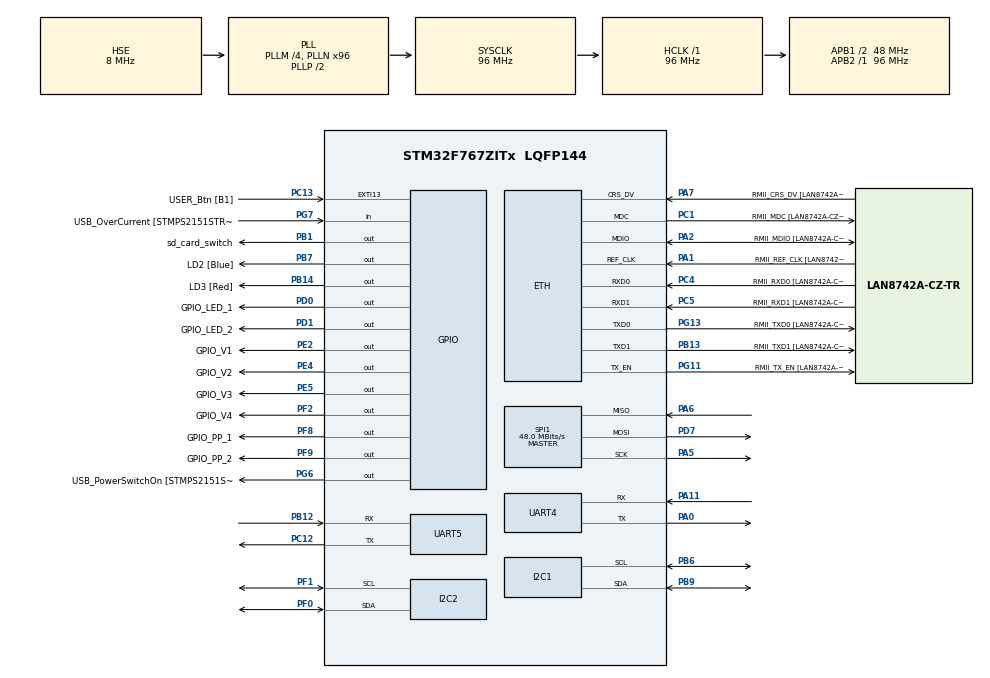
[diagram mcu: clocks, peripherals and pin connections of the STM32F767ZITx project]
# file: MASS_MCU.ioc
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ETH.MediaInterface=ETH_MEDIA_INTERFACE_RMII
ETH.PHY_Name=LAN8742A_PHY_ADDRESS
ETH.PHY_Value=0
ETH.PhyAddress=0
FATFS._MAX_SS=4096
FATFS._USE_LFN=1
I2C1.Timing=0x20303E5D
I2C2.Timing=0x20303E5D
LWIP.LWIP_DHCP=0
LWIP.LWIP_NETIF_LINK_CALLBACK=1
LWIP.Version=v2.1.2_Cube
Mcu.Family=STM32F7
Mcu.Name=STM32F767ZITx
Mcu.Package=LQFP144
NVIC.PriorityGroup=NVIC_PRIORITYGROUP_4
PA0/WKUP.Mode=Asynchronous
PA0/WKUP.Signal=UART4_TX
PA1.GPIO_Label=RMII_REF_CLK [LAN8742A-CZ-TR_REFCLK0]
PA1.Mode=RMII
PA1.Signal=ETH_REF_CLK
PA11.Mode=Asynchronous
PA11.Signal=UART4_RX
PA13.GPIO_Label=TMS
PA13.Mode=Serial_Wire
PA13.Signal=SYS_JTMS-SWDIO
PA14.GPIO_Label=TCK
PA14.Mode=Serial_Wire
PA14.Signal=SYS_JTCK-SWCLK
PA2.GPIO_Label=RMII_MDIO [LAN8742A-CZ-TR_MDIO]
PA2.Mode=RMII
PA2.Signal=ETH_MDIO
PA5.Mode=Full_Duplex_Master
PA5.Signal=SPI1_SCK
PA6.Mode=Full_Duplex_Master
PA6.Signal=SPI1_MISO
PA7.GPIO_Label=RMII_CRS_DV [LAN8742A-CZ-TR_CRS_DV]
PA7.Mode=RMII
PA7.Signal=ETH_CRS_DV
PB1.GPIO_Label=sd_card_switch
PB1.Signal=GPIO_Output
PB12.Mode=Asynchronous
PB12.Signal=UART5_RX
PB13.GPIO_Label=RMII_TXD1 [LAN8742A-CZ-TR_TXD1]
PB13.Mode=RMII
PB13.Signal=ETH_TXD1
PB14.GPIO_Label=LD3 [Red]
PB14.Signal=GPIO_Output
PB3.GPIO_Label=SWO
PB3.Signal=SYS_JTDO-SWO
PB6.GPIO_PuPdOD=GPIO_NOPULL
PB6.Mode=I2C
PB6.Signal=I2C1_SCL
PB7.GPIO_Label=LD2 [Blue]
PB7.GPIO_PuPd=GPIO_PULLDOWN
PB7.Signal=GPIO_Output
PB9.GPIO_PuPdOD=GPIO_NOPULL
PB9.Mode=I2C
PB9.Signal=I2C1_SDA
PC1.GPIO_Label=RMII_MDC [LAN8742A-CZ-TR_MDC]
PC1.Mode=RMII
PC1.Signal=ETH_MDC
PC12.Mode=Asynchronous
PC12.Signal=UART5_TX
PC13.GPIO_Label=USER_Btn [B1]
PC13.Signal=GPXTI13
PC14/OSC32_IN.Mode=LSE-External-Oscillator
PC14/OSC32_IN.Signal=RCC_OSC32_IN
PC15/OSC32_OUT.Mode=LSE-External-Oscillator
PC15/OSC32_OUT.Signal=RCC_OSC32_OUT
PC4.GPIO_Label=RMII_RXD0 [LAN8742A-CZ-TR_RXD0]
PC4.Mode=RMII
PC4.Signal=ETH_RXD0
PC5.GPIO_Label=RMII_RXD1 [LAN8742A-CZ-TR_RXD1]
PC5.Mode=RMII
PC5.Signal=ETH_RXD1
PD0.GPIO_Label=GPIO_LED_1
PD0.GPIO_PuPd=GPIO_NOPULL
PD0.Signal=GPIO_Output
PD1.GPIO_Label=GPIO_LED_2
PD1.GPIO_PuPd=GPIO_NOPULL
PD1.Signal=GPIO_Output
PD7.Mode=Full_Duplex_Master
PD7.Signal=SPI1_MOSI
PD8.GPIO_Label=STLK_RX [STM32F103CBT6_PA3]
PD8.Signal=USART3_TX
PD9.GPIO_Label=STLK_TX [STM32F103CBT6_PA2]
PD9.Signal=USART3_RX
PE2.GPIO_Label=GPIO_V1
PE2.GPIO_PuPd=GPIO_NOPULL
PE2.Signal=GPIO_Output
PE4.GPIO_Label=GPIO_V2
PE4.GPIO_PuPd=GPIO_NOPULL
PE4.Signal=GPIO_Output
PE5.GPIO_Label=GPIO_V3
PE5.GPIO_PuPd=GPIO_NOPULL
PE5.Signal=GPIO_Output
PF0.Mode=I2C
PF0.Signal=I2C2_SDA
PF1.Mode=I2C
PF1.Signal=I2C2_SCL
PF2.GPIO_Label=GPIO_V4
PF2.GPIO_PuPd=GPIO_NOPULL
PF2.Signal=GPIO_Output
PF8.GPIO_Label=GPIO_PP_1
PF8.GPIO_PuPd=GPIO_NOPULL
PF8.Signal=GPIO_Output
PF9.GPIO_Label=GPIO_PP_2
PF9.GPIO_PuPd=GPIO_NOPULL
PF9.Signal=GPIO_Output
PG11.GPIO_Label=RMII_TX_EN [LAN8742A-CZ-TR_TXEN]
PG11.Mode=RMII
PG11.Signal=ETH_TX_EN
PG13.GPIO_Label=RMII_TXD0 [LAN8742A-CZ-TR_TXD0]
PG13.Mode=RMII
PG13.Signal=ETH_TXD0
PG6.GPIO_Label=USB_PowerSwitchOn [STMPS2151STR_EN]
PG6.Signal=GPIO_Output
PG7.GPIO_Label=USB_OverCurrent [STMPS2151STR_FAULT]
PG7.Signal=GPIO_Input
PH0/OSC_IN.GPIO_Label=MCO [STM32F103CBT6_PA8]
PH0/OSC_IN.Mode=HSE-External-Oscillator
PH0/OSC_IN.Signal=RCC_OSC_IN
PH1/OSC_OUT.Mode=HSE-External-Oscillator
PH1/OSC_OUT.Signal=RCC_OSC_OUT
ProjectManager.HeapSize=0x200
ProjectManager.StackSize=0x400
ProjectManager.TargetToolchain=SW4STM32
RCC.48MHZClocksFreq_Value=24000000
RCC.AHBFreq_Value=96000000
RCC.APB1CLKDivider=RCC_HCLK_DIV2
RCC.APB1Freq_Value=48000000
RCC.APB1TimFreq_Value=96000000
RCC.APB2Freq_Value=96000000
RCC.APB2TimFreq_Value=96000000
RCC.CortexFreq_Value=96000000
RCC.HCLKFreq_Value=96000000
RCC.HSE_VALUE=8000000
RCC.HSI_VALUE=16000000
RCC.PLLM=4
RCC.PLLMUL=RCC_PLL_MUL9
RCC.PLLN=96
RCC.PLLQ=4
RCC.PLLSourceVirtual=RCC_PLLSOURCE_HSE
RCC.PRESCALERUSB=RCC_USBCLKSOURCE_PLL_DIV1_5
RCC.SYSCLKFreq_VALUE=96000000
RCC.SYSCLKSource=RCC_SYSCLKSOURCE_PLLCLK
RCC.SYSCLKSourceVirtual=RCC_SYSCLKSOURCE_PLLCLK
RCC.USBFreq_Value=48000000
RCC.VCOOutputFreq_Value=192000000
SPI1.CalculateBaudRate=48.0 MBits/s
SPI1.Direction=SPI_DIRECTION_2LINES
SPI1.Mode=SPI_MODE_MASTER
SPI1.VirtualType=VM_MASTER
VP_FATFS_VS_Generic.Mode=User_defined
VP_LWIP_VS_Enabled.Mode=Enabled
board=NUCLEO-F767ZI

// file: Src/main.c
/* USER CODE BEGIN Header */
/**
  ******************************************************************************
  * @file           : main.c
  * @brief          : Main program body
  ******************************************************************************
  * @attention
  *
  * <h2><center>&copy; Copyright (c) 2020 STMicroelectronics.
  * All rights reserved.</center></h2>
  *
  * This software component is licensed by ST under Ultimate Liberty license
  * SLA0044, the "License"; You may not use this file except in compliance with
  * the License. You may obtain a copy of the License at:
  *                             www.st.com/SLA0044
  *
  ******************************************************************************
  */
/* USER CODE END Header */

#include "main.h"
#include "fatfs.h"
#include "i2c.h"
#include "lwip.h"
#include "spi.h"
#include "usart.h"
#include "gpio.h"

/* USER CODE BEGIN Includes */
#include "message_ids.h"
#include "devices/adc/adc.h"
#include <math.h>
/* USER CODE END Includes */

void SystemClock_Config(void);

/* USER CODE BEGIN 0 */

int get_free_sd_card_space()
{
	FATFS *pfs;
	DWORD fre_clust;
	FATFS fs;  // file system

	FRESULT fresult = f_mount(&fs, "", 0); //mount sd card

	if (fresult == FR_OK)
	{
		f_getfree("", &fre_clust, &pfs);

		fresult = f_mount(NULL, "", 1);
		return  (uint32_t)(fre_clust * pfs->csize * 0.5);
	}

	return 0;
}

int bufsize (char *buf)
{
	int i=0;
	while (*buf++ != '\0') i++;
	return i;
}

FRESULT write_sd_card(char* file_name,void* src,int size)
{
	FILINFO filinfo;
	FATFS fs;  // file system
	FIL fil;  // file
	UINT br, bw;   // file read/write count

	FRESULT fresult = f_mount(&fs, "", 0); //mount sd card

	if (fresult == FR_OK)
	{
		fresult = f_open(&fil, file_name, FA_OPEN_ALWAYS | FA_READ | FA_WRITE); //open file, if it doesnt exist create the file
		fresult = f_stat(file_name, &filinfo); //read fileinfo
		fresult = f_lseek(&fil,filinfo.fsize); //offset to the end of file
		fresult = f_write(&fil, src, size, &bw);

		f_close(&fil);
		fresult = f_mount(NULL, "", 1);
	}

	return fresult;
}

/* USER CODE END 0 */

float rd(float value)
{
	int val = (int)(value * 100.f);
	return ((float)(val))/100;
}

int main(void)
{

  /* MCU Configuration--------------------------------------------------------*/

  /* Reset of all peripherals, Initializes the Flash interface and the Systick. */
  HAL_Init();

  /* Configure the system clock */
  SystemClock_Config();

  /* Initialize all configured peripherals */
  MX_GPIO_Init();
  MX_LWIP_Init();
  MX_I2C1_Init();
  MX_SPI1_Init();
  MX_UART4_Init();
  MX_FATFS_Init();
  MX_I2C2_Init();
  MX_UART5_Init();
  /* USER CODE BEGIN 2 */
	tcp_echoserver_init();
	udp_echoclient_connect();

 int total = get_free_sd_card_space();
 char buffer[300] = {};
  sprintf(buffer,"HELLO FREE SPACEAAA : %d",total);

  strcpy (buffer, "This is a new test- and it says Hello from controllerstech newzufutuzfggzuizguigzuzugzugguzzgugzuuzggzu\n");

  write_sd_card("FILE55.txt",&buffer,bufsize(buffer));

	uint32_t ms_start_pneu = HAL_GetTick();
	uint32_t ms_start_pwr = HAL_GetTick();
	uint32_t ms_start_amb = HAL_GetTick();

  /* USER CODE END 2 */

  /* Infinite loop */
  while (1)
  {

    /* USER CODE BEGIN 3 */
		MX_LWIP_Process();

		if ((HAL_GetTick() - ms_start_pneu) >= 10000) //every 1 sec.
				{
			//pneumatics data
			struct pneumatics pneu;

			pneu.pressure_tank = ((((MCP342X_adc_read_16bit(&hi2c1, 0x68,CHANNEL_2) * (125.f / 75.f)) - 0.25f) * 150) / (0.9f * 5.f))* 68.9476f;
			pneu.pressure_outside_structures = 1200.8f;
			pneu.pressure_inside_structures = 1178.6f;
			udp_echoclient_send(data_down_pneumatics, &pneu, sizeof(pneu));
			ms_start_pneu = HAL_GetTick();

		}

		if ((HAL_GetTick() - ms_start_pwr) >= 10000) //every 10 sec.
				{
			///power data
			struct power pwr;
			pwr.voltage_bexus = rd(MCP342X_adc_read_16bit(&hi2c1,I2C_ADRESS_POWER_ADC, CHANNEL_4) * 13.f);
			pwr.voltage_extra = rd(MCP342X_adc_read_16bit(&hi2c1,I2C_ADRESS_POWER_ADC, CHANNEL_3) * 13.f);
#define sensitivity 0.185f
			pwr.current_bexus = rd(((MCP342X_adc_read_16bit(&hi2c1,I2C_ADRESS_POWER_ADC, CHANNEL_1) * 2.f) - 2.426f) / sensitivity);
			pwr.current_extra = rd(((MCP342X_adc_read_16bit(&hi2c1,I2C_ADRESS_POWER_ADC, CHANNEL_2) * 2.f) - 2.4328f) / sensitivity);
			udp_echoclient_send(data_down_power, &pwr, sizeof(pwr));
			ms_start_pwr = HAL_GetTick();

		}

		if ((HAL_GetTick() - ms_start_amb) >= 10000) //every 60 sec.
				{
			//enviromental data
			struct enviromental env;
			env.pressure = 50.f;

			float v_temp_inside = MCP342X_adc_read_16bit(&hi2c1,0x69, CHANNEL_2);
			env.temp_inside = (1.f/((1.f/298.15f) + (1.f/3492.f) * log((v_temp_inside*10000)/(3.3f-v_temp_inside)/10000)))-273.15f;

			env.temp_outside = 70.f;
			udp_echoclient_send(data_down_enviromental, &env, sizeof(env));
			ms_start_amb = HAL_GetTick();
		}

		if (HAL_GPIO_ReadPin(GPIOC, GPIO_PIN_13)) {

			HAL_Delay(50);

		}

	}
  /* USER CODE END 3 */
}

void SystemClock_Config(void)
{
  RCC_OscInitTypeDef RCC_OscInitStruct = {0};
  RCC_ClkInitTypeDef RCC_ClkInitStruct = {0};
  RCC_PeriphCLKInitTypeDef PeriphClkInitStruct = {0};

  /** Configure LSE Drive Capability
  */
  HAL_PWR_EnableBkUpAccess();
  /** Configure the main internal regulator output voltage
  */
  __HAL_RCC_PWR_CLK_ENABLE();
  __HAL_PWR_VOLTAGESCALING_CONFIG(PWR_REGULATOR_VOLTAGE_SCALE3);
  /** Initializes the CPU, AHB and APB busses clocks
  */
  RCC_OscInitStruct.OscillatorType = RCC_OSCILLATORTYPE_HSE;
  RCC_OscInitStruct.HSEState = RCC_HSE_ON;
  RCC_OscInitStruct.PLL.PLLState = RCC_PLL_ON;
  RCC_OscInitStruct.PLL.PLLSource = RCC_PLLSOURCE_HSE;
  RCC_OscInitStruct.PLL.PLLM = 4;
  RCC_OscInitStruct.PLL.PLLN = 96;
  RCC_OscInitStruct.PLL.PLLP = RCC_PLLP_DIV2;
  RCC_OscInitStruct.PLL.PLLQ = 4;
  if (HAL_RCC_OscConfig(&RCC_OscInitStruct) != HAL_OK)
  {
    Error_Handler();
  }
  /** Activate the Over-Drive mode
  */
  if (HAL_PWREx_EnableOverDrive() != HAL_OK)
  {
    Error_Handler();
  }
  /** Initializes the CPU, AHB and APB busses clocks
  */
  RCC_ClkInitStruct.ClockType = RCC_CLOCKTYPE_HCLK|RCC_CLOCKTYPE_SYSCLK
                              |RCC_CLOCKTYPE_PCLK1|RCC_CLOCKTYPE_PCLK2;
  RCC_ClkInitStruct.SYSCLKSource = RCC_SYSCLKSOURCE_PLLCLK;
  RCC_ClkInitStruct.AHBCLKDivider = RCC_SYSCLK_DIV1;
  RCC_ClkInitStruct.APB1CLKDivider = RCC_HCLK_DIV2;
  RCC_ClkInitStruct.APB2CLKDivider = RCC_HCLK_DIV1;

  if (HAL_RCC_ClockConfig(&RCC_ClkInitStruct, FLASH_LATENCY_3) != HAL_OK)
  {
    Error_Handler();
  }
  PeriphClkInitStruct.PeriphClockSelection = RCC_PERIPHCLK_UART4|RCC_PERIPHCLK_UART5
                              |RCC_PERIPHCLK_I2C1|RCC_PERIPHCLK_I2C2;
  PeriphClkInitStruct.Uart4ClockSelection = RCC_UART4CLKSOURCE_PCLK1;
  PeriphClkInitStruct.Uart5ClockSelection = RCC_UART5CLKSOURCE_PCLK1;
  PeriphClkInitStruct.I2c1ClockSelection = RCC_I2C1CLKSOURCE_PCLK1;
  PeriphClkInitStruct.I2c2ClockSelection = RCC_I2C2CLKSOURCE_PCLK1;
  if (HAL_RCCEx_PeriphCLKConfig(&PeriphClkInitStruct) != HAL_OK)
  {
    Error_Handler();
  }
}

void Error_Handler(void)
{
}

/************************ (C) COPYRIGHT STMicroelectronics *****END OF FILE****/
